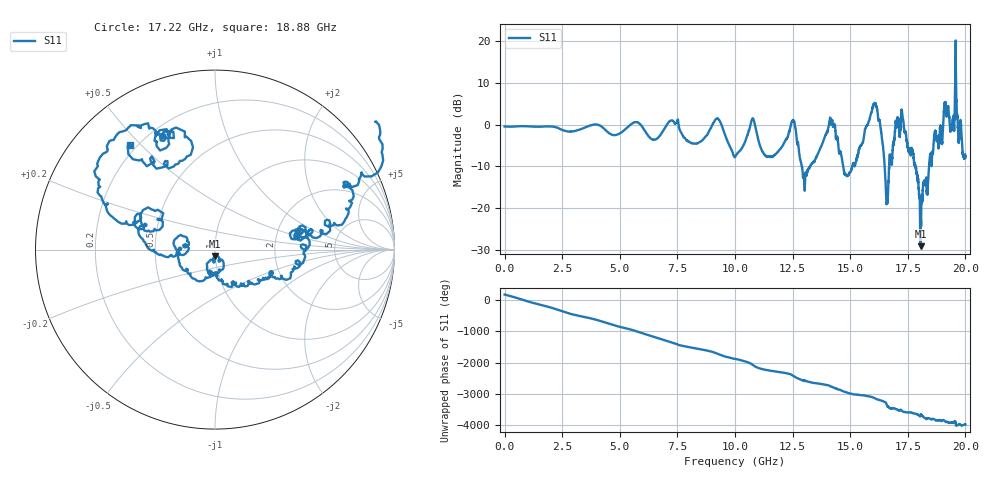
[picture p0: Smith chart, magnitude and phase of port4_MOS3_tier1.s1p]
! Created with skrf 1.8.0 (http://scikit-rf.org).
# GHz S RI R 50.0
!freq ReS11 ImS11
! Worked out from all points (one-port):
!   10001 points, 1 MHz to 20 GHz, reference 50 ohm
!   lowest |S11| = -29.0 dB at 18.06 GHz (marker M1), VSWR 1.07, Z = 50 - j3.53 ohm
!   |S11| at or under -10 dB: 12.9 GHz to 13.25 GHz (353.3 MHz wide, 2.7 % of centre); 14.7 GHz to 15.09 GHz (392 MHz wide, 2.63 % of centre); 17.82 GHz to 18.42 GHz (598.3 MHz wide, 3.3 % of centre) (the widest 3 of 4)
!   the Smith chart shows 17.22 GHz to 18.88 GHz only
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0.001  -0.949 0.00498
0.7909605  0.9393 0.1767
1.230938  0.0598 -0.9417
1.724914  -0.9475 -0.0106
2.500875  0.8615 0.0615
3.426829  -0.8968 -0.1231
4.0028  0.0339 1
4.39078  0.8543 -0.0282
5.00075  -0.5362 -0.5701
5.672716  -0.1707 1.055
6.040698  0.8665 0.1472
6.966652  -0.8575 0.3398
7.500625  0.9771 0.5394
8.916554  -0.8546 0.1869
9.442528  0.8371 0.4406
10.0005  0.093 -0.3991
10.76246  -0.1069 1.181
11.47843  0.0104 -0.4103
12.50038  -0.4708 1.005
15.00025  -0.0756 -0.2574
16.0882  -0.2345 1.737
16.51217  0.2565 -0.095
17.14814  0.1276 0.7082
17.50013  0.535 0.1154
18.0581  0.000902 -0.0353
19.16204  0.559 1.239
19.66202  0.9796 -0.6508
20  0.3887 -0.1069
